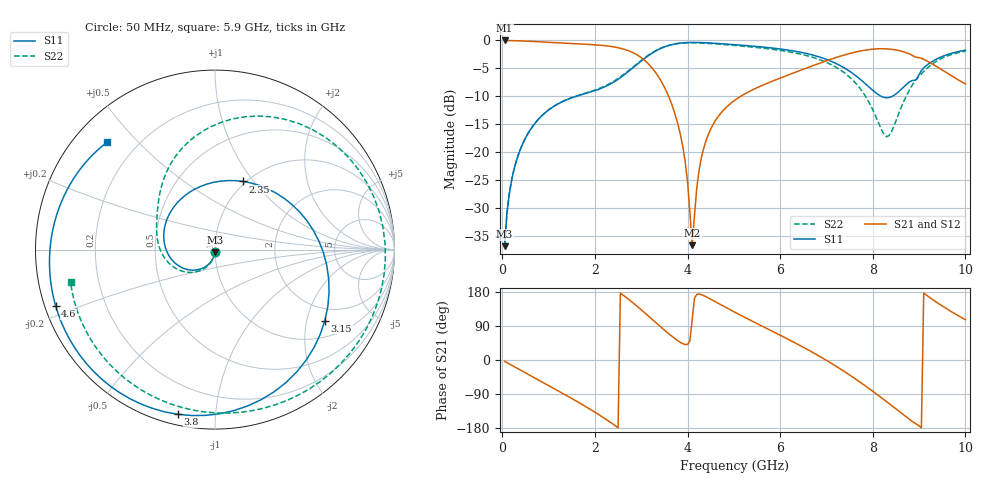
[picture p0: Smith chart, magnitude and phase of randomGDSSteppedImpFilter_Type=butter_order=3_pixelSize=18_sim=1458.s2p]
! freq	dB(S11)	phase(S11)	dB(S12)	phase(S12)
!  dB(S21)	phase(S21)	dB(S22)	phase(S22)
!S-par simulation data
#  GHz  S  DB  R 50
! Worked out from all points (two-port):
!   200 points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, 50 MHz to 10 GHz, reference 50 ohm
!   highest |S21| = -0.01 dB at 50 MHz (marker M1); lowest = -36.7 dB at 4.1 GHz (marker M2)
!   |S21| within 3 dB of the highest: start of sweep to 2.987 GHz; 7.227 GHz to 8.94 GHz (1.712 GHz wide, 21.2 % of centre)
!   lowest |S11| = -36.8 dB at 50 MHz (marker M3), VSWR 1.03, Z = 49.9 - j1.44 ohm
!   |S11| at or under -10 dB: start of sweep to 1.601 GHz; 8.181 GHz to 8.421 GHz (239.4 MHz wide, 2.88 % of centre)
!   |S22| runs from -36.8 to -0.4 dB; largest |S21 - S12| = 0
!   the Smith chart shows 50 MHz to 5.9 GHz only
!   S11 on the Smith chart (normalised r, x): 50 MHz: 1.00, -0.03; 2.35 GHz: 0.97, +0.89; 3.15 GHz: 1.53, -2.58; 3.8 GHz: 0.05, -0.80; 4.6 GHz: 0.03, -0.17; 5.9 GHz: 0.10, +0.41
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0.05  -36.82 -91.9  -0.01 -3.5  -0.01 -3.5  -36.81 -91.5
0.2  -25.07 -104.4  -0.04 -13.7  -0.04 -13.7  -25.06 -103.0
0.5  -17.49 -126.3  -0.13 -34.0  -0.13 -34.0  -17.48 -122.6
1.15  -11.61 -174.5  -0.41 -77.7  -0.41 -77.7  -11.58 -162.1
1.75  -9.62 134.0  -0.67 -119.2  -0.67 -119.2  -9.55 166.2
2.35  -7.74 67.8  -1.09 -165.8  -1.09 -165.8  -7.59 138.7
3.15  -2.75 -32.8  -4.16 116.5  -4.16 116.5  -2.67 82.1
3.4  -1.52 -62.0  -6.87 89.5  -6.87 89.5  -1.47 56.2
3.8  -0.53 -102.6  -15.24 50.2  -15.24 50.2  -0.55 12.8
4  -0.39 -119.7  -25.28 41.1  -25.28 41.1  -0.43 -8.1
4.1  -0.37 -127.5  -36.65 104.9  -36.65 104.9  -0.42 -18.1
4.25  -0.38 -138.4  -23.20 174.0  -23.20 174.0  -0.45 -32.7
4.6  -0.52 -160.6  -14.38 153.9  -14.38 153.9  -0.62 -64.5
5.05  -0.79 175.1  -10.54 124.2  -10.54 124.2  -0.93 -101.7
5.9  -1.43 135.0  -7.07 71.6  -7.07 71.6  -1.67 -167.2
6.7  -2.61 98.8  -4.54 20.2  -4.54 20.2  -3.02 127.1
7.15  -3.91 78.9  -3.22 -12.1  -3.22 -12.1  -4.54 84.1
7.6  -6.11 62.1  -2.14 -47.8  -2.14 -47.8  -7.37 33.3
8.35  -10.22 70.5  -1.55 -114.9  -1.55 -114.9  -17.04 -134.1
8.75  -7.71 78.9  -2.29 -152.8  -2.29 -152.8  -9.53 125.6
9.2  -4.23 70.4  -3.82 167.5  -3.82 167.5  -4.79 65.3
10  -1.75 32.5  -7.78 106.2  -7.78 106.2  -1.94 -10.2
